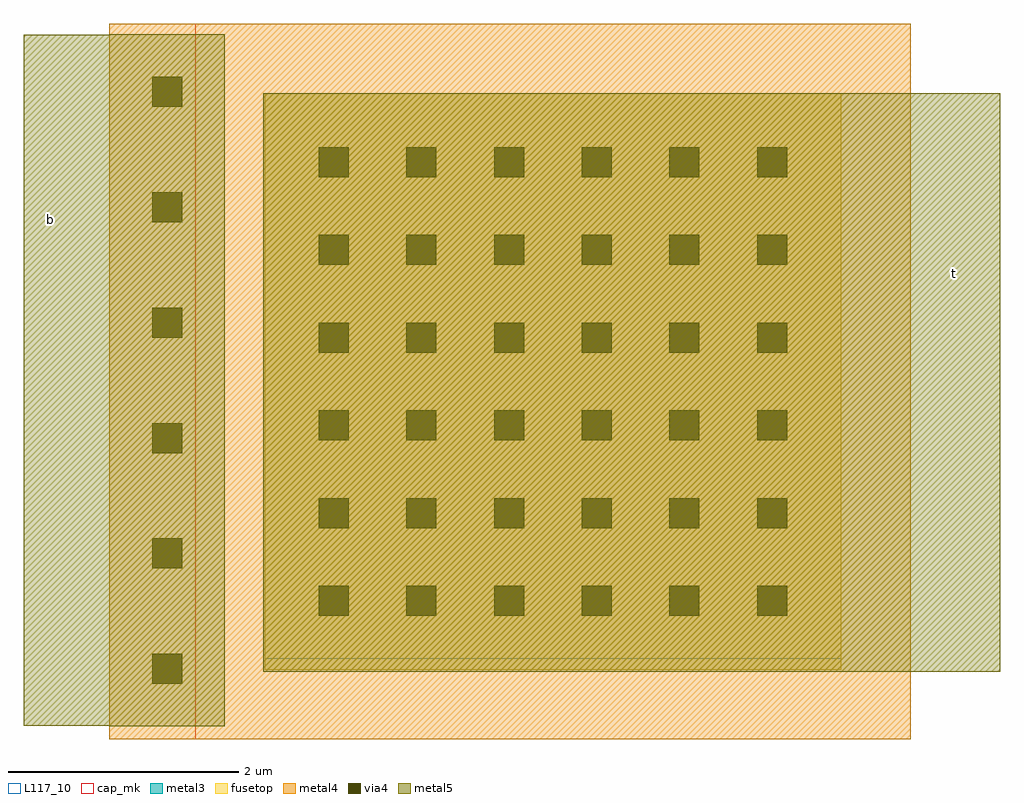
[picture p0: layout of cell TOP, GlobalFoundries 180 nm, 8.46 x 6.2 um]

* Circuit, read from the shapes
.subckt TOP b t
XC1 t b cap_mim_2f0fF c_width=5u c_length=5u
.ends

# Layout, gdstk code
import gdstk
lib = gdstk.Library(unit=1e-6, precision=5e-09)
def R(c, l, rs):  # rectangles x0, y0, x1, y1
    for r in rs: c.add(gdstk.rectangle(r[:2], r[2:], *l))
def A(c, l, x, y, w, h, nx, ny, dx, dy):  # array of equal rectangles
    R(c, l, [(x+i*dx, y+j*dy, x+i*dx+w, y+j*dy+h) for i in range(nx) for j in range(ny)])
def P(c, l, *ps):  # polygons
    for p in ps: c.add(gdstk.Polygon(p, *l))
via4 = (41, 0)
metal3 = (42, 0)
metal4 = (46, 0)
fusetop = (75, 0)
metal5 = (81, 0)
cap_mk = (117, 5)
L117_10 = (117, 10)

top = lib.new_cell('TOP')
A(top, via4, -2.895, 3.165, 0.26, 0.26, 1, 6, 0, 1)
A(top, via4, -1.45, 3.755, 0.26, 0.26, 6, 6, 0.76, 0.76)
P(top, metal3, [(-1.79,2.685),(-1.79,2.685),(-1.79,2.685),(-1.79,2.685)])
A(top, metal4, -3.265, 2.795, 1, 1, 1, 6, 0, 1)
R(top, metal4, [(-3.265,2.685,-2.265,2.795), (-2.52,2.685,3.68,8.885), (-3.265,8.795,-2.265,8.885)])
R(top, fusetop, [(-1.92,3.285,3.08,8.285)])
A(top, metal5, -3.265, 2.795, 1, 1, 1, 6, 0, 1)
R(top, metal5, [(-4.005,2.8,-2.265,8.79), (-1.93,3.27,4.455,8.285), (-1.92,3.285,3.08,8.285)])
R(top, cap_mk, [(-2.52,2.685,3.68,8.885)])
R(top, L117_10, [(-1.92,3.285,3.08,3.385)])
top.add(gdstk.Label('t', (4.06,6.72), layer=81, texttype=10))
top.add(gdstk.Label('b', (-3.775,7.185), layer=81, texttype=10))

lib.write_gds('TOP.gds')
